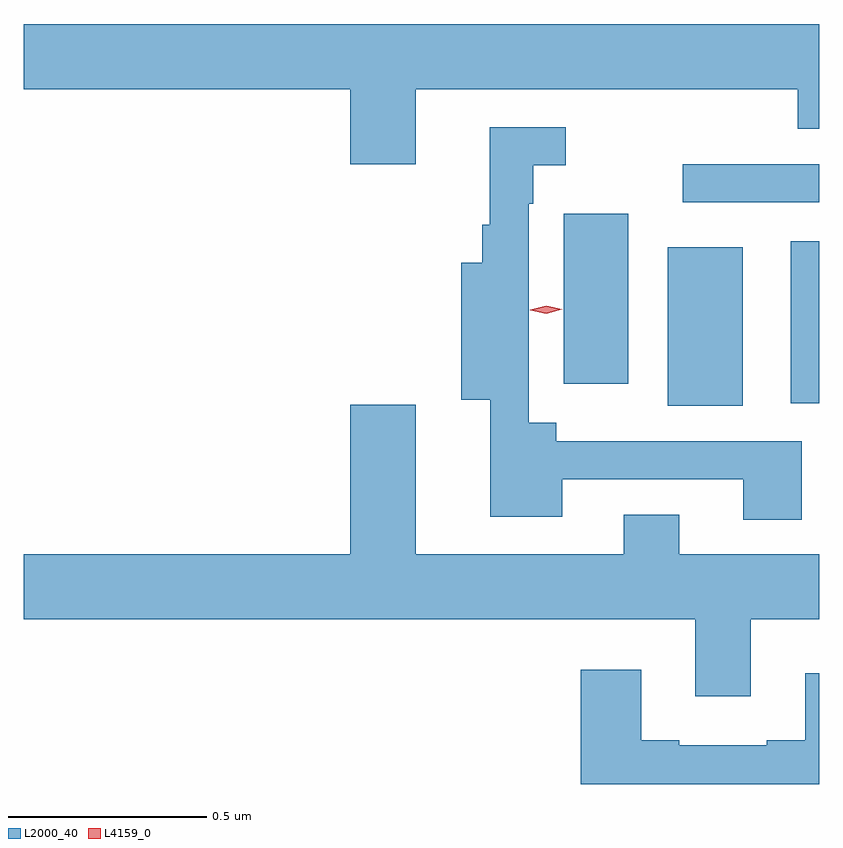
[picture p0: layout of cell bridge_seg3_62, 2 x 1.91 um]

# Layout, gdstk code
import gdstk
lib = gdstk.Library(unit=1e-6, precision=1e-09)
def R(c, l, rs):  # rectangles x0, y0, x1, y1
    for r in rs: c.add(gdstk.rectangle(r[:2], r[2:], *l))
def P(c, l, *ps):  # polygons
    for p in ps: c.add(gdstk.Polygon(p, *l))
L2000_40 = (2000, 40)
L4159_0 = (4159, 0)

bridge_seg3_62 = lib.new_cell('bridge_seg3_62')
R(bridge_seg3_62, L2000_40, [(573.398,680.141,573.586,680.539), (573.707,680.147,573.779,680.554), (573.137,680.196,573.298,680.623), (573.435,680.652,573.779,680.748)])
P(bridge_seg3_62, L2000_40, [(571.779,680.936),(572.6,680.936),(572.6,680.748),(572.764,680.748),(572.764,680.936),(573.725,680.936),(573.725,680.837),(573.779,680.837),(573.779,681.1),(571.779,681.1)],
  [(573.735,680.052),(573.118,680.052),(573.118,680.098),(573.048,680.098),(573.048,680.648),(573.06,680.648),(573.06,680.745),(573.142,680.745),(573.142,680.841),(572.951,680.841),(572.951,680.596),(572.932,680.596),(572.932,680.5),(572.879,680.5),(572.879,680.156),(572.952,680.156),(572.952,679.862),(573.133,679.862),(573.133,679.956),(573.587,679.956),(573.587,679.854),(573.735,679.854)],
  [(573.607,679.604),(573.779,679.604),(573.779,679.768),(573.427,679.768),(573.427,679.867),(573.287,679.867),(573.287,679.768),(572.764,679.768),(572.764,680.143),(572.6,680.143),(572.6,679.768),(571.779,679.768),(571.779,679.604),(573.467,679.604),(573.467,679.41),(573.607,679.41)],
  [(573.779,679.468),(573.743,679.468),(573.743,679.3),(573.647,679.3),(573.647,679.287),(573.427,679.287),(573.427,679.3),(573.331,679.3),(573.331,679.477),(573.179,679.477),(573.179,679.19),(573.779,679.19)])
P(bridge_seg3_62, L4159_0, [(573.093,680.372),(573.052,680.381),(573.052,680.381),(573.052,680.382),(573.092,680.392),(573.133,680.383),(573.133,680.383),(573.133,680.383)])

lib.write_gds('bridge_seg3_62.gds')
